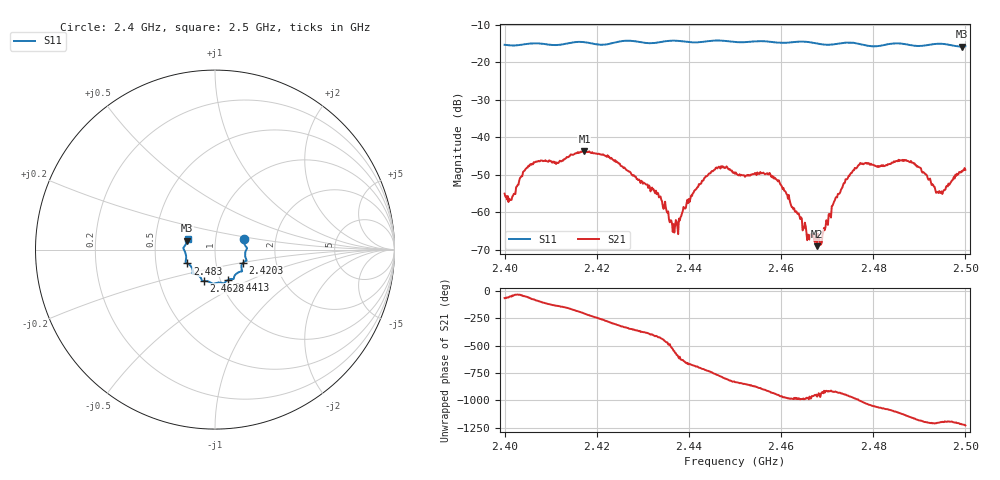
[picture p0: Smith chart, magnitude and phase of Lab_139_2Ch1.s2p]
# Hz S RI R 50
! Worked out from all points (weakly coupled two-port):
!   601 points, 2.4 GHz to 2.5 GHz, reference 50 ohm
!   highest |S21| = -43.69 dB at 2.4173 GHz (marker M1); lowest = -69.1 dB at 2.4678 GHz (marker M2)
!   lowest |S11| = -15.8 dB at 2.4993 GHz (marker M3), VSWR 1.39, Z = 36.5 + j3.71 ohm
!   |S11| at or under -10 dB: start of sweep to end of sweep
!   S12 and S22 are empty: the file has one direction only
!   S11 on the Smith chart (normalised r, x): 2.4 GHz: 1.37, +0.16; 2.4203 GHz: 1.35, -0.21; 2.4413 GHz: 1.09, -0.38; 2.4628 GHz: 0.83, -0.30; 2.483 GHz: 0.72, -0.11; 2.5 GHz: 0.73, +0.09
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2.4e9  0.1609 0.0571  0.000779 -0.00158  0 0  0 0
2.401333e9  0.162 0.0425  0.000969 -0.00109  0 0  0 0
2.406e9  0.1781 0.00989  0.00129 -0.00423  0 0  0 0
2.416667e9  0.1762 -0.0613  -0.00623 0.00172  0 0  0 0
2.417333e9  0.1744 -0.0622  -0.00586 0.0029  0 0  0 0
2.420333e9  0.1554 -0.0741  -0.00226 0.00557  0 0  0 0
2.433333e9  0.108 -0.1484  0.000813 -0.00157  0 0  0 0
2.437167e9  0.1029 -0.1641  -0.000686 0.00038  0 0  0 0
2.441333e9  0.0745 -0.1681  0.00161 0.00113  0 0  0 0
2.446167e9  0.0495 -0.1888  0.0026 -0.0028  0 0  0 0
2.45e9  0.0294 -0.1839  -0.00123 -0.00301  0 0  0 0
2.457833e9  -0.0216 -0.1854  -0.00261 0.00141  0 0  0 0
2.462833e9  -0.0629 -0.175  -0.000271 0.00109  0 0  0 0
2.466667e9  -0.0743 -0.1676  -0.000254 0.000446  0 0  0 0
2.467833e9  -0.0778 -0.1596  -0.000148 0.000318  0 0  0 0
2.475667e9  -0.1253 -0.1316  -0.000937 0.00349  0 0  0 0
2.483e9  -0.1548 -0.0769  0.00421 0.000113  0 0  0 0
2.483333e9  -0.1569 -0.0759  0.00432 -0.000282  0 0  0 0
2.488667e9  -0.1604 -0.0449  0.000737 -0.00448  0 0  0 0
2.494167e9  -0.1762 0.00692  -0.000977 -0.00151  0 0  0 0
2.499333e9  -0.1541 0.0495  -0.00261 -0.0023  0 0  0 0
2.5e9  -0.1525 0.0586  -0.00312 -0.00191  0 0  0 0
